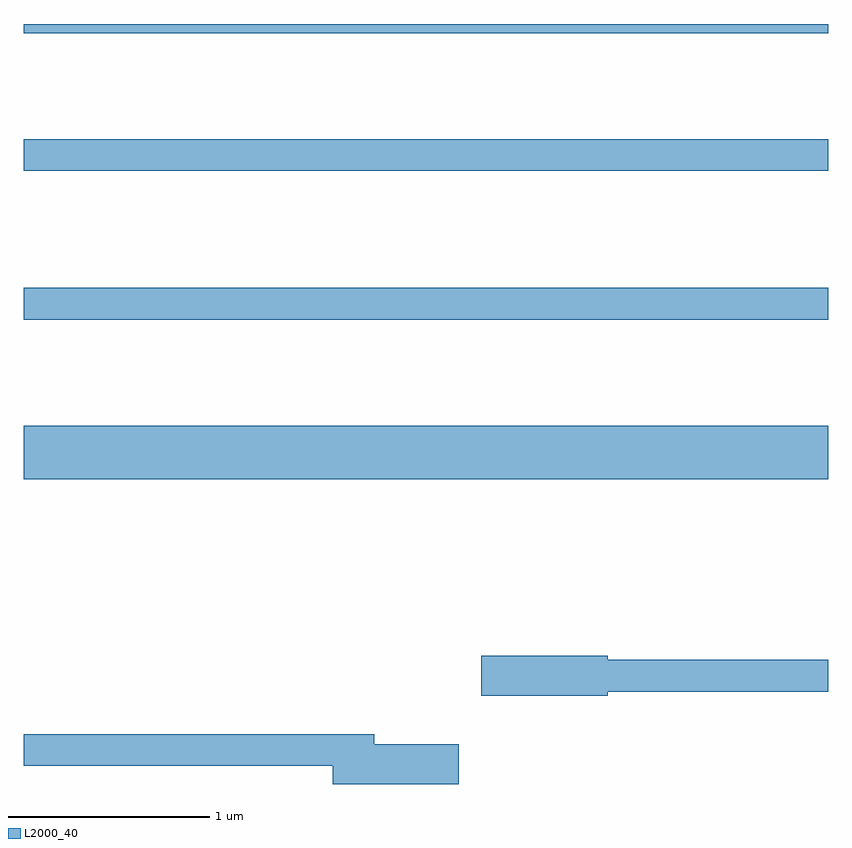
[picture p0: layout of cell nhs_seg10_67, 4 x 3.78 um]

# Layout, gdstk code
import gdstk
lib = gdstk.Library(unit=1e-6, precision=1e-09)
def R(c, l, rs):  # rectangles x0, y0, x1, y1
    for r in rs: c.add(gdstk.rectangle(r[:2], r[2:], *l))
def P(c, l, *ps):  # polygons
    for p in ps: c.add(gdstk.Polygon(p, *l))
L2000_40 = (2000, 40)

nhs_seg10_67 = lib.new_cell('nhs_seg10_67')
R(nhs_seg10_67, L2000_40, [(185.611,2218.256,189.611,2218.524), (185.611,2219.051,189.611,2219.209), (185.611,2219.791,189.611,2219.949), (185.611,2220.476,189.611,2220.522)])
P(nhs_seg10_67, L2000_40, [(188.514,2217.201),(189.611,2217.201),(189.611,2217.359),(188.514,2217.359),(188.514,2217.379),(187.886,2217.379),(187.886,2217.181),(188.514,2217.181)],
  [(187.774,2216.939),(187.354,2216.939),(187.354,2216.989),(185.611,2216.989),(185.611,2216.831),(187.146,2216.831),(187.146,2216.741),(187.774,2216.741)])

lib.write_gds('nhs_seg10_67.gds')
